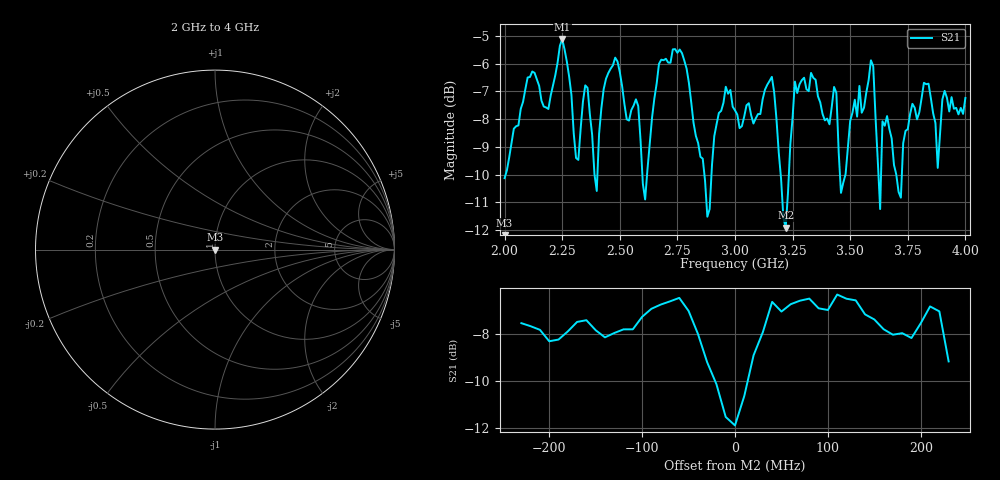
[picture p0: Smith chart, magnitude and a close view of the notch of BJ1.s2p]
!Keysight Technologies,P9374A,MY57212427,A.14.10.08
!Date: Wednesday, July 20, 2022 15:47:29
!Correction: S11(Off)
!S21(Off)
!S12(Off)
!S22(Off)
!S2P File: Measurement: :
# Hz S  dB  R 50
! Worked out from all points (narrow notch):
!   201 points, 2 GHz to 4 GHz, reference 50 ohm
!   highest |S21| = -5.12 dB at 2.25 GHz (marker M1); lowest = -11.9 dB at 3.22 GHz (marker M2)
!   notch at M2: 4.3 dB deep, 39.5 MHz wide at half that depth
!   lowest |S11| = - dB at 2 GHz (marker M3), VSWR 1.00, Z = 50 + j7.07e-09 ohm
!   |S11| at or under -10 dB: start of sweep to end of sweep
!   S12 and S22 are empty: the file has one direction only
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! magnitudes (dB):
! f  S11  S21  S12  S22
! 2 GHz  -  -10.1  -  -
! 2.25 GHz  -  -5.1  -  -
! 2.31 GHz  -  -9.4  -  -
! 2.34 GHz  -  -7.4  -  -
! 2.4 GHz  -  -10.6  -  -
! 2.48 GHz  -  -5.8  -  -
! 2.61 GHz  -  -10.9  -  -
! 2.67 GHz  -  -6.0  -  -
! 2.77 GHz  -  -5.6  -  -
! 2.88 GHz  -  -11.5  -  -
! 3 GHz  -  -7.7  -  -
! 3.16 GHz  -  -6.5  -  -
! 3.22 GHz  -  -11.9  -  -
! 3.26 GHz  -  -6.6  -  -
! 3.34 GHz  -  -6.5  -  -
! 3.44 GHz  -  -7.1  -  -
! 3.46 GHz  -  -10.7  -  -
! 3.59 GHz  -  -5.9  -  -
! 3.63 GHz  -  -11.2  -  -
! 3.67 GHz  -  -8.4  -  -
! 3.72 GHz  -  -10.8  -  -
! 4 GHz  -  -7.2  -  -
